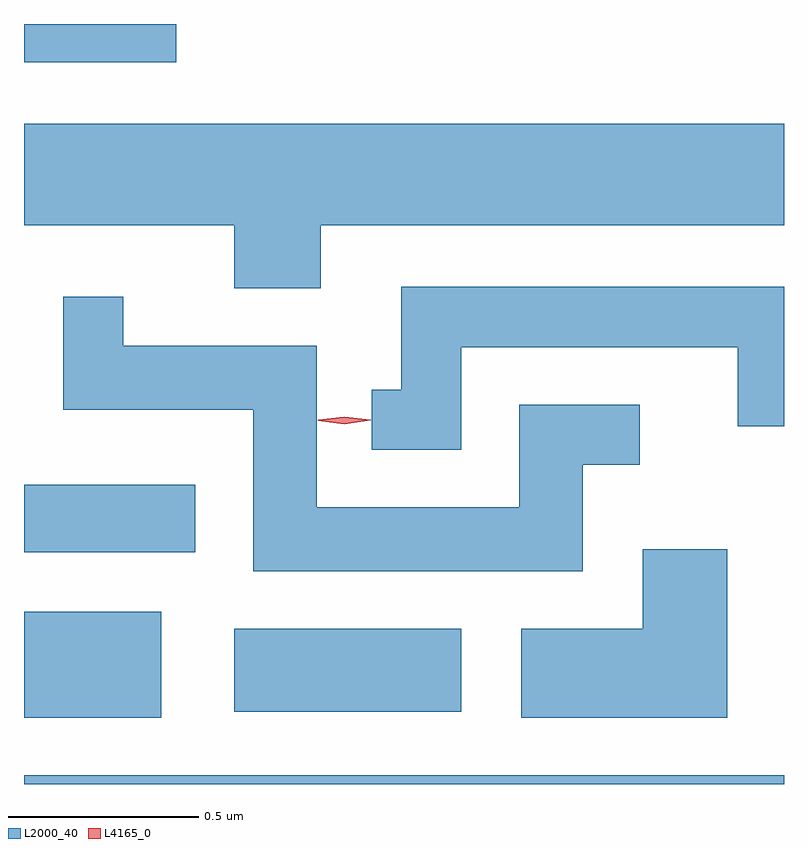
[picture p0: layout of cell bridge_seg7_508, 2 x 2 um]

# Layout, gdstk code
import gdstk
lib = gdstk.Library(unit=1e-6, precision=1e-09)
def R(c, l, rs):  # rectangles x0, y0, x1, y1
    for r in rs: c.add(gdstk.rectangle(r[:2], r[2:], *l))
def P(c, l, *ps):  # polygons
    for p in ps: c.add(gdstk.Polygon(p, *l))
L2000_40 = (2000, 40)
L4165_0 = (4165, 0)

bridge_seg7_508 = lib.new_cell('bridge_seg7_508')
R(bridge_seg7_508, L2000_40, [(1450.498,1726.166,1452.498,1726.189), (1450.498,1726.341,1450.859,1726.619), (1451.051,1726.356,1451.649,1726.574), (1450.498,1726.776,1450.949,1726.954), (1450.498,1728.066,1450.899,1728.166)])
P(bridge_seg7_508, L2000_40, [(1451.279,1727.636),(1452.498,1727.636),(1452.498,1727.904),(1450.498,1727.904),(1450.498,1727.636),(1451.051,1727.636),(1451.051,1727.471),(1451.279,1727.471)],
  [(1451.649,1727.316),(1452.376,1727.316),(1452.376,1727.108),(1452.498,1727.108),(1452.498,1727.474),(1451.491,1727.474),(1451.491,1727.204),(1451.413,1727.204),(1451.413,1727.046),(1451.649,1727.046)],
  [(1451.969,1727.006),(1452.118,1727.006),(1452.118,1727.164),(1451.801,1727.164),(1451.801,1726.894),(1451.269,1726.894),(1451.269,1727.319),(1450.759,1727.319),(1450.759,1727.448),(1450.601,1727.448),(1450.601,1727.151),(1451.101,1727.151),(1451.101,1726.726),(1451.969,1726.726)],
  [(1452.349,1726.784),(1452.126,1726.784),(1452.126,1726.574),(1451.806,1726.574),(1451.806,1726.341),(1452.349,1726.341)])
P(bridge_seg7_508, L4165_0, [(1451.341,1727.113),(1451.272,1727.122),(1451.272,1727.123),(1451.272,1727.124),(1451.341,1727.133),(1451.411,1727.124),(1451.411,1727.124),(1451.411,1727.123)])

lib.write_gds('bridge_seg7_508.gds')
